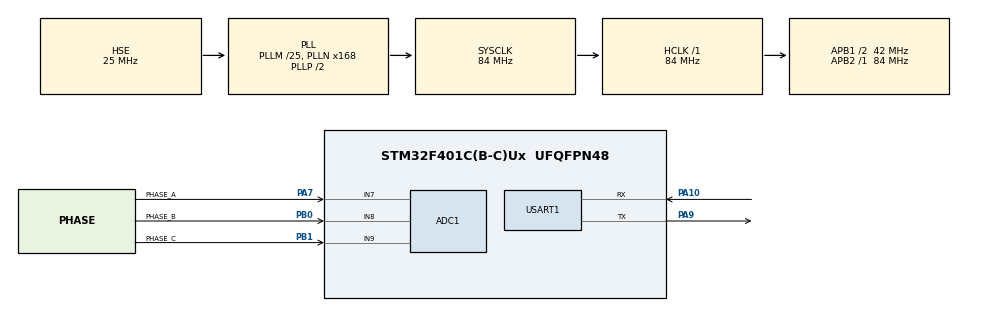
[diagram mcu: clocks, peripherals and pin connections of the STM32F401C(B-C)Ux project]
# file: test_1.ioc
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ADC1.Channel-0\#ChannelRegularConversion=ADC_CHANNEL_7
ADC1.Channel-1\#ChannelRegularConversion=ADC_CHANNEL_8
ADC1.Channel-2\#ChannelRegularConversion=ADC_CHANNEL_9
ADC1.DMAContinuousRequests=ENABLE
ADC1.ExternalTrigConv=ADC_EXTERNALTRIGCONV_T2_TRGO
ADC1.NbrOfConversion=3
ADC1.NbrOfConversionFlag=1
ADC1.Rank-0\#ChannelRegularConversion=1
ADC1.Rank-1\#ChannelRegularConversion=2
ADC1.Rank-2\#ChannelRegularConversion=3
ADC1.SamplingTime-0\#ChannelRegularConversion=ADC_SAMPLETIME_3CYCLES
ADC1.SamplingTime-1\#ChannelRegularConversion=ADC_SAMPLETIME_3CYCLES
ADC1.SamplingTime-2\#ChannelRegularConversion=ADC_SAMPLETIME_3CYCLES
ADC1.master=1
Dma.ADC1.0.Direction=DMA_PERIPH_TO_MEMORY
Dma.ADC1.0.FIFOMode=DMA_FIFOMODE_DISABLE
Dma.ADC1.0.Instance=DMA2_Stream0
Dma.ADC1.0.MemDataAlignment=DMA_MDATAALIGN_HALFWORD
Dma.ADC1.0.MemInc=DMA_MINC_ENABLE
Dma.ADC1.0.Mode=DMA_CIRCULAR
Dma.ADC1.0.PeriphDataAlignment=DMA_PDATAALIGN_HALFWORD
Dma.ADC1.0.PeriphInc=DMA_PINC_DISABLE
Dma.ADC1.0.Priority=DMA_PRIORITY_LOW
Dma.Request0=ADC1
Mcu.Family=STM32F4
Mcu.Name=STM32F401C(B-C)Ux
Mcu.Package=UFQFPN48
NVIC.ADC_IRQn=true\:0\:0\:false\:false\:true\:true\:true\:true
NVIC.DMA2_Stream0_IRQn=true\:0\:0\:false\:false\:true\:false\:true\:true
NVIC.PriorityGroup=NVIC_PRIORITYGROUP_4
NVIC.TIM2_IRQn=true\:0\:0\:false\:false\:true\:true\:true\:true
PA10.Mode=Asynchronous
PA10.Signal=USART1_RX
PA13.Mode=Serial_Wire
PA13.Signal=SYS_JTMS-SWDIO
PA14.Mode=Serial_Wire
PA14.Signal=SYS_JTCK-SWCLK
PA7.GPIO_Label=PHASE_A
PA7.Signal=ADCx_IN7
PA9.Mode=Asynchronous
PA9.Signal=USART1_TX
PB0.GPIO_Label=PHASE_B
PB0.Signal=ADCx_IN8
PB1.GPIO_Label=PHASE_C
PB1.Signal=ADCx_IN9
PH0\ -\ OSC_IN.Mode=HSE-External-Oscillator
PH0\ -\ OSC_IN.Signal=RCC_OSC_IN
PH1\ -\ OSC_OUT.Mode=HSE-External-Oscillator
PH1\ -\ OSC_OUT.Signal=RCC_OSC_OUT
ProjectManager.HeapSize=0x400
ProjectManager.StackSize=0x800
ProjectManager.TargetToolchain=Makefile
RCC.48MHZClocksFreq_Value=42000000
RCC.AHBFreq_Value=84000000
RCC.APB1CLKDivider=RCC_HCLK_DIV2
RCC.APB1Freq_Value=42000000
RCC.APB1TimFreq_Value=84000000
RCC.APB2Freq_Value=84000000
RCC.APB2TimFreq_Value=84000000
RCC.CortexFreq_Value=84000000
RCC.HCLKFreq_Value=84000000
RCC.HSE_VALUE=25000000
RCC.HSI_VALUE=16000000
RCC.LSE_VALUE=32768
RCC.PLLM=25
RCC.PLLN=168
RCC.PLLSourceVirtual=RCC_PLLSOURCE_HSE
RCC.SYSCLKFreq_VALUE=84000000
RCC.SYSCLKSource=RCC_SYSCLKSOURCE_PLLCLK
RCC.VCOOutputFreq_Value=168000000
SH.ADCx_IN7.0=ADC1_IN7,IN7
SH.ADCx_IN8.0=ADC1_IN8,IN8
SH.ADCx_IN9.0=ADC1_IN9,IN9
TIM2.Period=525-1
TIM2.Prescaler=20-1
TIM2.TIM_MasterOutputTrigger=TIM_TRGO_UPDATE
USART1.VirtualMode=VM_ASYNC
VP_TIM2_VS_ClockSourceINT.Mode=Internal
board=custom

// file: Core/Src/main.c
/* USER CODE BEGIN Header */
/**
  ******************************************************************************
  * @file           : main.c
  * @brief          : Main program body
  ******************************************************************************
  * @attention
  *
  * Copyright (c) 2024 STMicroelectronics.
  * All rights reserved.
  *
  * This software is licensed under terms that can be found in the LICENSE file
  * in the root directory of this software component.
  * If no LICENSE file comes with this software, it is provided AS-IS.
  *
  ******************************************************************************
  */
/* USER CODE END Header */
#include "main.h"

/* USER CODE BEGIN Includes */
#include "stdint.h"
#include "arm_math.h"
/* USER CODE END Includes */

/* USER CODE BEGIN PD */
#define BUFFER_SIZE 2048
#define NUM_TAPS 311
#define FS  12800.4878
uint16_t adcBuffer[BUFFER_SIZE];

static float32_t inputF32[BUFFER_SIZE];
static float32_t outputF32[BUFFER_SIZE];
static float32_t firStateF32[BUFFER_SIZE + NUM_TAPS - 1];
static float32_t fftOutput[BUFFER_SIZE];
static float32_t fftMag[BUFFER_SIZE / 2];

arm_fir_instance_f32 S;
arm_rfft_fast_instance_f32 S_RFFT;

static float32_t firCoeffs32[NUM_TAPS] = {
    -0.000051,
    -0.000041,
    -0.000031,
    -0.000021,
    -0.000011,
    0.000000,
    0.000011,
    0.000023,
    0.000035,
    0.000047,
    0.000061,
    0.000074,
    0.000088,
    0.000103,
    0.000119,
    0.000135,
    0.000152,
    0.000169,
    0.000186,
    0.000205,
    0.000223,
    0.000242,
    0.000262,
    0.000281,
    0.000301,
    0.000320,
    0.000340,
    0.000359,
    0.000378,
    0.000396,
    0.000413,
    0.000429,
    0.000444,
    0.000458,
    0.000470,
    0.000481,
    0.000489,
    0.000496,
    0.000499,
    0.000500,
    0.000499,
    0.000494,
    0.000486,
    0.000474,
    0.000458,
    0.000439,
    0.000415,
    0.000388,
    0.000355,
    0.000319,
    0.000277,
    0.000231,
    0.000181,
    0.000125,
    0.000065,
    -0.000000,
    -0.000070,
    -0.000144,
    -0.000223,
    -0.000306,
    -0.000393,
    -0.000484,
    -0.000579,
    -0.000677,
    -0.000778,
    -0.000881,
    -0.000987,
    -0.001095,
    -0.001203,
    -0.001313,
    -0.001422,
    -0.001532,
    -0.001640,
    -0.001746,
    -0.001851,
    -0.001952,
    -0.002049,
    -0.002142,
    -0.002230,
    -0.002312,
    -0.002387,
    -0.002454,
    -0.002513,
    -0.002563,
    -0.002603,
    -0.002632,
    -0.002650,
    -0.002655,
    -0.002648,
    -0.002627,
    -0.002592,
    -0.002541,
    -0.002475,
    -0.002393,
    -0.002294,
    -0.002178,
    -0.002045,
    -0.001893,
    -0.001722,
    -0.001534,
    -0.001326,
    -0.001099,
    -0.000853,
    -0.000588,
    -0.000303,
    0.000000,
    0.000322,
    0.000663,
    0.001022,
    0.001399,
    0.001793,
    0.002204,
    0.002631,
    0.003073,
    0.003530,
    0.004001,
    0.004485,
    0.004981,
    0.005488,
    0.006004,
    0.006530,
    0.007063,
    0.007602,
    0.008146,
    0.008693,
    0.009243,
    0.009794,
    0.010344,
    0.010892,
    0.011436,
    0.011976,
    0.012509,
    0.013034,
    0.013550,
    0.014054,
    0.014547,
    0.015026,
    0.015489,
    0.015937,
    0.016366,
    0.016776,
    0.017167,
    0.017535,
    0.017881,
    0.018204,
    0.018501,
    0.018774,
    0.019020,
    0.019238,
    0.019429,
    0.019592,
    0.019726,
    0.019830,
    0.019905,
    0.019950,
    0.019965,
    0.019950,
    0.019905,
    0.019830,
    0.019726,
    0.019592,
    0.019429,
    0.019238,
    0.019020,
    0.018774,
    0.018501,
    0.018204,
    0.017881,
    0.017535,
    0.017167,
    0.016776,
    0.016366,
    0.015937,
    0.015489,
    0.015026,
    0.014547,
    0.014054,
    0.013550,
    0.013034,
    0.012509,
    0.011976,
    0.011436,
    0.010892,
    0.010344,
    0.009794,
    0.009243,
    0.008693,
    0.008146,
    0.007602,
    0.007063,
    0.006530,
    0.006004,
    0.005488,
    0.004981,
    0.004485,
    0.004001,
    0.003530,
    0.003073,
    0.002631,
    0.002204,
    0.001793,
    0.001399,
    0.001022,
    0.000663,
    0.000322,
    0.000000,
    -0.000303,
    -0.000588,
    -0.000853,
    -0.001099,
    -0.001326,
    -0.001534,
    -0.001722,
    -0.001893,
    -0.002045,
    -0.002178,
    -0.002294,
    -0.002393,
    -0.002475,
    -0.002541,
    -0.002592,
    -0.002627,
    -0.002648,
    -0.002655,
    -0.002650,
    -0.002632,
    -0.002603,
    -0.002563,
    -0.002513,
    -0.002454,
    -0.002387,
    -0.002312,
    -0.002230,
    -0.002142,
    -0.002049,
    -0.001952,
    -0.001851,
    -0.001746,
    -0.001640,
    -0.001532,
    -0.001422,
    -0.001313,
    -0.001203,
    -0.001095,
    -0.000987,
    -0.000881,
    -0.000778,
    -0.000677,
    -0.000579,
    -0.000484,
    -0.000393,
    -0.000306,
    -0.000223,
    -0.000144,
    -0.000070,
    -0.000000,
    0.000065,
    0.000125,
    0.000181,
    0.000231,
    0.000277,
    0.000319,
    0.000355,
    0.000388,
    0.000415,
    0.000439,
    0.000458,
    0.000474,
    0.000486,
    0.000494,
    0.000499,
    0.000500,
    0.000499,
    0.000496,
    0.000489,
    0.000481,
    0.000470,
    0.000458,
    0.000444,
    0.000429,
    0.000413,
    0.000396,
    0.000378,
    0.000359,
    0.000340,
    0.000320,
    0.000301,
    0.000281,
    0.000262,
    0.000242,
    0.000223,
    0.000205,
    0.000186,
    0.000169,
    0.000152,
    0.000135,
    0.000119,
    0.000103,
    0.000088,
    0.000074,
    0.000061,
    0.000047,
    0.000035,
    0.000023,
    0.000011,
    0.000000,
    -0.000011,
    -0.000021,
    -0.000031,
    -0.000041,
    -0.000051
};
/* USER CODE END PD */

ADC_HandleTypeDef hadc1;
DMA_HandleTypeDef hdma_adc1;

TIM_HandleTypeDef htim2;

UART_HandleTypeDef huart1;

void SystemClock_Config(void);
static void MX_GPIO_Init(void);
static void MX_DMA_Init(void);
static void MX_ADC1_Init(void);
static void MX_TIM2_Init(void);
static void MX_USART1_UART_Init(void);

/* USER CODE BEGIN 0 */

void processData(void){
    // Convert ADC data to float32_t
    for (uint32_t i = 0; i < BUFFER_SIZE; i++)
    {
        inputF32[i] = (float32_t)adcBuffer[i];
    }

    // Apply FIR filter
    arm_fir_f32(&S, inputF32, outputF32, BUFFER_SIZE);

    // Remove DC bias
    float32_t meanValue;
    arm_mean_f32(outputF32, BUFFER_SIZE, &meanValue);
    for (uint32_t i = 0; i < BUFFER_SIZE; i++)
    {
        outputF32[i] -= meanValue;
    }

    // ----------------------------
    // Zero-Crossing Detection Code
    // ----------------------------

    float32_t zeroCrossingTimes[BUFFER_SIZE]; // Store interpolated zero-crossing times
    uint32_t zeroCrossingCount = 0;
    char msg[100];

    // Detect zero crossings with linear interpolation
    for (uint32_t i = 1; i < BUFFER_SIZE; i++)
    {
        float32_t previousSample = outputF32[i - 1];
        float32_t currentSample = outputF32[i];

        // Check for zero crossing (sign change)
        if ((previousSample >= 0.0f && currentSample < 0.0f) ||
            (previousSample < 0.0f && currentSample >= 0.0f))
        {
            // Linear interpolation to estimate zero-crossing time
            float32_t delta = 0.0f;
            float32_t slope = currentSample - previousSample;
            if (slope != 0.0f)
            {
                delta = -previousSample / slope;
            }
            // If slope is zero, delta remains 0

            float32_t zeroCrossingTime = (i - 1) + delta; // Fractional index
            zeroCrossingTimes[zeroCrossingCount++] = zeroCrossingTime;
        }
    }

    // Ensure we have detected enough zero crossings
    if (zeroCrossingCount < 3) // Need at least 3 zero crossings to calculate one full period
    {
        snprintf(msg, sizeof(msg), "Insufficient zero crossings detected.\r\n");
        HAL_UART_Transmit(&huart1, (uint8_t*)msg, strlen(msg), HAL_MAX_DELAY);
        return;
    }

    // Calculate periods between zero crossings (full periods)
    float32_t periods[BUFFER_SIZE / 2];
    uint32_t periodCount = 0;

    for (uint32_t i = 2; i < zeroCrossingCount; i += 2)
    {
        float32_t periodSamples = zeroCrossingTimes[i] - zeroCrossingTimes[i - 2];
        periods[periodCount++] = periodSamples;
    }

    // Ensure we have at least one period
    if (periodCount == 0)
    {
        snprintf(msg, sizeof(msg), "No complete periods detected.\r\n");
        HAL_UART_Transmit(&huart1, (uint8_t*)msg, strlen(msg), HAL_MAX_DELAY);
        return;
    }

    // Compute average period
    float32_t totalPeriod = 0.0f;
    for (uint32_t i = 0; i < periodCount; i++)
    {
        totalPeriod += periods[i];
    }
    float32_t averagePeriodSamples = totalPeriod / (float32_t)periodCount;

    // Calculate frequency from zero crossings
    float32_t zeroCrossingFrequency = (float32_t)FS / averagePeriodSamples;

    // -------------------------------------------
    // Circular Buffer to Average Last 4 Frequency Samples
    // -------------------------------------------

    #define FREQ_BUFFER_SIZE 10
    static float32_t frequencyBuffer[FREQ_BUFFER_SIZE] = {0};
    static uint32_t frequencyIndex = 0;

    // Update frequency buffer (circular buffer)
    frequencyBuffer[frequencyIndex] = zeroCrossingFrequency;
    frequencyIndex = (frequencyIndex + 1) % FREQ_BUFFER_SIZE; // Wrap around after reaching buffer size

    // Compute mean frequency using CMSIS-DSP function
    float32_t meanFrequency = 0.0f;
    arm_mean_f32(frequencyBuffer, FREQ_BUFFER_SIZE, &meanFrequency);

    // Send mean frequency over UART
    snprintf(msg, sizeof(msg), "Mean Frequency: %.2f Hz\r\n\n", meanFrequency);
    HAL_UART_Transmit(&huart1, (uint8_t*)msg, strlen(msg), HAL_MAX_DELAY);

    // Perform FFT
    arm_rfft_fast_f32(&S_RFFT, outputF32, fftOutput, 0);

    // Compute magnitude of FFT
    arm_cmplx_mag_f32(fftOutput, fftMag, BUFFER_SIZE / 2);

    // Find the peak frequency
    float32_t maxValue;
    uint32_t maxIndex;
    arm_max_f32(fftMag, BUFFER_SIZE / 2, &maxValue, &maxIndex);

    // Calculate frequency resolution
    float32_t frequencyResolution = (float32_t)FS / (float32_t)BUFFER_SIZE;

    // Calculate peak frequency
    float32_t peakFrequency = frequencyResolution * (float32_t)maxIndex;
    // Send peak frequency over UART

    snprintf(msg, sizeof(msg), "Peak Frequency: %.2f Hz\r\n", peakFrequency);
    HAL_UART_Transmit(&huart1, (uint8_t*)msg, strlen(msg), HAL_MAX_DELAY);
}

void HAL_ADC_ConvCpltCallback(ADC_HandleTypeDef* hadc){
  processData();
}

/* USER CODE END 0 */

int main(void)
{

  /* MCU Configuration--------------------------------------------------------*/

  /* Reset of all peripherals, Initializes the Flash interface and the Systick. */
  HAL_Init();

  /* Configure the system clock */
  SystemClock_Config();

  /* Initialize all configured peripherals */
  MX_GPIO_Init();
  MX_DMA_Init();
  MX_ADC1_Init();
  MX_TIM2_Init();
  MX_USART1_UART_Init();
  /* USER CODE BEGIN 2 */

  arm_fir_init_f32(&S, NUM_TAPS, firCoeffs32, firStateF32, BUFFER_SIZE);
  arm_rfft_fast_init_f32(&S_RFFT, BUFFER_SIZE);
  HAL_TIM_Base_Start(&htim2);
  HAL_ADC_Start_DMA(&hadc1, (uint32_t*)adcBuffer, BUFFER_SIZE);
  /* USER CODE END 2 */

  /* Infinite loop */
  while (1)
  {

  }
}

void SystemClock_Config(void)
{
  RCC_OscInitTypeDef RCC_OscInitStruct = {0};
  RCC_ClkInitTypeDef RCC_ClkInitStruct = {0};

  /** Configure the main internal regulator output voltage
  */
  __HAL_RCC_PWR_CLK_ENABLE();
  __HAL_PWR_VOLTAGESCALING_CONFIG(PWR_REGULATOR_VOLTAGE_SCALE2);

  /** Initializes the RCC Oscillators according to the specified parameters
  * in the RCC_OscInitTypeDef structure.
  */
  RCC_OscInitStruct.OscillatorType = RCC_OSCILLATORTYPE_HSE;
  RCC_OscInitStruct.HSEState = RCC_HSE_ON;
  RCC_OscInitStruct.PLL.PLLState = RCC_PLL_ON;
  RCC_OscInitStruct.PLL.PLLSource = RCC_PLLSOURCE_HSE;
  RCC_OscInitStruct.PLL.PLLM = 25;
  RCC_OscInitStruct.PLL.PLLN = 168;
  RCC_OscInitStruct.PLL.PLLP = RCC_PLLP_DIV2;
  RCC_OscInitStruct.PLL.PLLQ = 4;
  if (HAL_RCC_OscConfig(&RCC_OscInitStruct) != HAL_OK)
  {
    Error_Handler();
  }

  /** Initializes the CPU, AHB and APB buses clocks
  */
  RCC_ClkInitStruct.ClockType = RCC_CLOCKTYPE_HCLK|RCC_CLOCKTYPE_SYSCLK
                              |RCC_CLOCKTYPE_PCLK1|RCC_CLOCKTYPE_PCLK2;
  RCC_ClkInitStruct.SYSCLKSource = RCC_SYSCLKSOURCE_PLLCLK;
  RCC_ClkInitStruct.AHBCLKDivider = RCC_SYSCLK_DIV1;
  RCC_ClkInitStruct.APB1CLKDivider = RCC_HCLK_DIV2;
  RCC_ClkInitStruct.APB2CLKDivider = RCC_HCLK_DIV1;

  if (HAL_RCC_ClockConfig(&RCC_ClkInitStruct, FLASH_LATENCY_2) != HAL_OK)
  {
    Error_Handler();
  }
}

static void MX_ADC1_Init(void)
{

  ADC_ChannelConfTypeDef sConfig = {0};

  /** Configure the global features of the ADC (Clock, Resolution, Data Alignment and number of conversion)
  */
  hadc1.Instance = ADC1;
  hadc1.Init.ClockPrescaler = ADC_CLOCK_SYNC_PCLK_DIV4;
  hadc1.Init.Resolution = ADC_RESOLUTION_12B;
  hadc1.Init.ScanConvMode = DISABLE;
  hadc1.Init.ContinuousConvMode = DISABLE;
  hadc1.Init.DiscontinuousConvMode = DISABLE;
  hadc1.Init.ExternalTrigConvEdge = ADC_EXTERNALTRIGCONVEDGE_RISING;
  hadc1.Init.ExternalTrigConv = ADC_EXTERNALTRIGCONV_T2_TRGO;
  hadc1.Init.DataAlign = ADC_DATAALIGN_RIGHT;
  hadc1.Init.NbrOfConversion = 1;
  hadc1.Init.DMAContinuousRequests = ENABLE;
  hadc1.Init.EOCSelection = ADC_EOC_SINGLE_CONV;
  if (HAL_ADC_Init(&hadc1) != HAL_OK)
  {
    Error_Handler();
  }

  /** Configure for the selected ADC regular channel its corresponding rank in the sequencer and its sample time.
  */
  sConfig.Channel = ADC_CHANNEL_8;
  sConfig.Rank = 1;
  sConfig.SamplingTime = ADC_SAMPLETIME_3CYCLES;
  if (HAL_ADC_ConfigChannel(&hadc1, &sConfig) != HAL_OK)
  {
    Error_Handler();
  }

}

static void MX_TIM2_Init(void)
{

  TIM_ClockConfigTypeDef sClockSourceConfig = {0};
  TIM_MasterConfigTypeDef sMasterConfig = {0};

  htim2.Instance = TIM2;
  htim2.Init.Prescaler = 0;
  htim2.Init.CounterMode = TIM_COUNTERMODE_UP;
  htim2.Init.Period = 6561;
  htim2.Init.ClockDivision = TIM_CLOCKDIVISION_DIV1;
  htim2.Init.AutoReloadPreload = TIM_AUTORELOAD_PRELOAD_DISABLE;
  if (HAL_TIM_Base_Init(&htim2) != HAL_OK)
  {
    Error_Handler();
  }
  sClockSourceConfig.ClockSource = TIM_CLOCKSOURCE_INTERNAL;
  if (HAL_TIM_ConfigClockSource(&htim2, &sClockSourceConfig) != HAL_OK)
  {
    Error_Handler();
  }
  sMasterConfig.MasterOutputTrigger = TIM_TRGO_UPDATE;
  sMasterConfig.MasterSlaveMode = TIM_MASTERSLAVEMODE_DISABLE;
  if (HAL_TIMEx_MasterConfigSynchronization(&htim2, &sMasterConfig) != HAL_OK)
  {
    Error_Handler();
  }

}

static void MX_USART1_UART_Init(void)
{

  huart1.Instance = USART1;
  huart1.Init.BaudRate = 115200;
  huart1.Init.WordLength = UART_WORDLENGTH_8B;
  huart1.Init.StopBits = UART_STOPBITS_1;
  huart1.Init.Parity = UART_PARITY_NONE;
  huart1.Init.Mode = UART_MODE_TX_RX;
  huart1.Init.HwFlowCtl = UART_HWCONTROL_NONE;
  huart1.Init.OverSampling = UART_OVERSAMPLING_16;
  if (HAL_UART_Init(&huart1) != HAL_OK)
  {
    Error_Handler();
  }

}

static void MX_DMA_Init(void)
{

  /* DMA controller clock enable */
  __HAL_RCC_DMA2_CLK_ENABLE();

  /* DMA interrupt init */
  /* DMA2_Stream0_IRQn interrupt configuration */
  HAL_NVIC_SetPriority(DMA2_Stream0_IRQn, 0, 0);
  HAL_NVIC_EnableIRQ(DMA2_Stream0_IRQn);

}

static void MX_GPIO_Init(void)
{

  /* GPIO Ports Clock Enable */
  __HAL_RCC_GPIOH_CLK_ENABLE();
  __HAL_RCC_GPIOB_CLK_ENABLE();
  __HAL_RCC_GPIOA_CLK_ENABLE();

}

void Error_Handler(void)
{
  __disable_irq();
  while (1)
  {
  }
}
